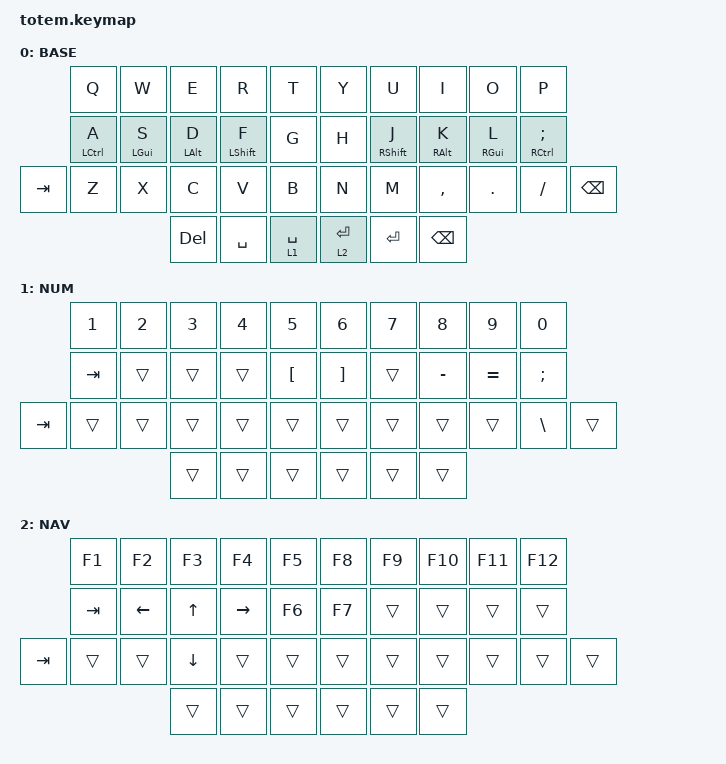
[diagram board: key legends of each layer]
#include <behaviors.dtsi>
#include <dt-bindings/zmk/keys.h>

#define BASE 0
#define NAV  1
#define SYM  2

&mt {
    quick-tap-ms = <100>;
    global-quick-tap;
    flavor = "tap-preferred";
    tapping-term-ms = <170>;
};

/ {
    combos {
        compatible = "zmk,combos";

        combo_esc {
            timeout-ms = <50>;
            key-positions = <0 1>;
            bindings = <&kp ESC>; // 정상적인 단일 키 입력으로 수정
        };
    };

    behaviors {
        hm: home_row_mods {
            compatible = "zmk,behavior-hold-tap";
            label = "HOME_ROW_MODS";
            bindings = <&kp>, <&kp>;

            #binding-cells = <2>;
            tapping-term-ms = <200>;
            quick-tap-ms = <139>;
            require-prior-idle-ms = <(-1)>;
            flavor = "tap-preferred";
        };
    };

    keymap {
        compatible = "zmk,keymap";

        base_layer {
            label = "BASE";
            bindings = <
          &kp Q        &kp W        &kp E        &kp R        &kp T         &kp Y      &kp U        &kp I        &kp O        &kp P
          &hm LCTRL A  &hm LGUI S   &hm LALT D   &hm LSHFT F  &kp G         &kp H      &hm RSHFT J  &hm RALT K   &hm RGUI L   &hm RCTRL SEMI
&kp TAB   &kp Z        &kp X        &kp C        &kp V        &kp B         &kp N      &kp M        &kp COMMA    &kp DOT      &kp FSLH        &kp BSPC
                                    &kp DELETE   &kp SPACE    &lt 1 SPACE   &lt 2 RET  &kp ENTER    &kp BSPC
            >;
        };

        number_layer {
            label = "NUM";
            bindings = <
          &kp N1   &kp N2   &kp N3   &kp N4   &kp N5     &kp N6    &kp N7   &kp N8     &kp N9     &kp N0
          &kp TAB  &trans   &trans   &trans   &kp LBKT   &kp RBKT  &trans   &kp MINUS  &kp EQUAL  &kp SEMI
&kp TAB   &trans   &trans   &trans   &trans   &trans     &trans    &trans   &trans     &trans     &kp BSLH  &trans
                            &trans   &trans   &trans     &trans    &trans   &trans
            >;
        };

        layer_2 {
            label = "NAV";
            bindings = <
          &kp F1   &kp F2    &kp F3    &kp F4     &kp F5    &kp F8  &kp F9  &kp F10  &kp F11  &kp F12
          &kp TAB  &kp LEFT  &kp UP    &kp RIGHT  &kp F6    &kp F7  &trans  &trans   &trans   &trans
&kp TAB   &trans   &trans    &kp DOWN  &trans     &trans    &trans  &trans  &trans   &trans   &trans   &trans
                             &trans    &trans     &trans    &trans  &trans  &trans
            >;
        };
    };
};
